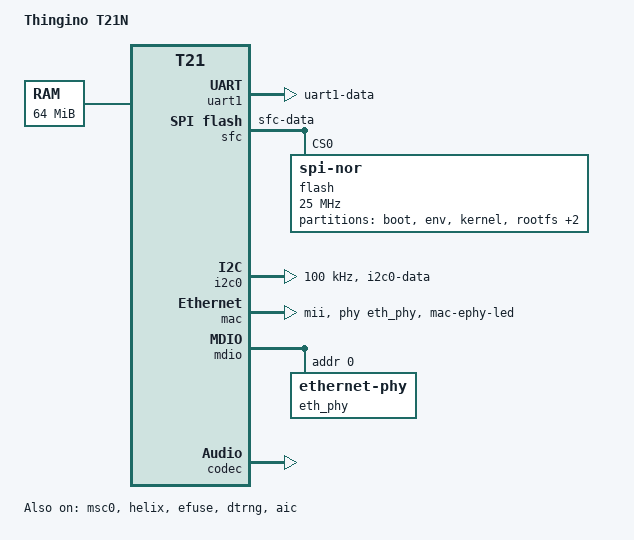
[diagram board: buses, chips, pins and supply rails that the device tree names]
// SPDX-License-Identifier: GPL-2.0
/dts-v1/;

#include <dt-bindings/gpio/gpio.h>
#include "t21.dtsi"

/ {
	compatible = "thingino,t21", "ingenic,t21";
	model = "Thingino T21N";

	aliases {
		serial1 = &uart1;
	};

	chosen {
		stdout-path = "serial1:115200n8";
	};

	memory@0 {
		device_type = "memory";
		reg = <0x0 0x4000000>;
	};
};

&exclk {
	clock-frequency = <24000000>;
};

&uart1 {
	status = "okay";

	pinctrl-names = "default";
	pinctrl-0 = <&pins_uart1>;
};

&tcu {
	/* 750 kHz for the system timer and clocksource; SYSOST is sched_clock */
	assigned-clocks = <&tcu TCU_CLK_TIMER0>, <&tcu TCU_CLK_TIMER1>;
	assigned-clock-rates = <750000>, <750000>;
};

&sfc {
	status = "okay";

	pinctrl-names = "default";
	pinctrl-0 = <&pins_sfc>;

	/*
	 * The bench T21N's NOR has a bad block at 0xa30000, so it is described
	 * read-only: nothing here may write it. The layout is thingino's.
	 */
	flash@0 {
		compatible = "jedec,spi-nor";
		reg = <0>;
		spi-max-frequency = <25000000>;

		partitions {
			compatible = "fixed-partitions";
			#address-cells = <1>;
			#size-cells = <1>;

			partition@0 {
				label = "boot";
				reg = <0x0 0x40000>;
				read-only;
			};

			partition@40000 {
				label = "env";
				reg = <0x40000 0x10000>;
				read-only;
			};

			partition@50000 {
				label = "kernel";
				reg = <0x50000 0x200000>;
				read-only;
			};

			partition@250000 {
				label = "rootfs";
				reg = <0x250000 0x500000>;
				read-only;
			};

			partition@750000 {
				label = "rootfs_data";
				reg = <0x750000 0xb0000>;
				read-only;
			};

			partition-all@0 {
				label = "all";
				reg = <0x0 0x1000000>;
				read-only;
			};
		};
	};
};

&msc0 {
	status = "okay";
	bus-width = <4>;
	max-frequency = <24000000>;
	/* The bench board's card detect and power pins are unverified */
	broken-cd;

	pinctrl-names = "default";
	pinctrl-0 = <&pins_mmc0>;
};

&isp {
	/* consumed by the out-of-tree ISP modules, not bound by a driver */
	pinctrl-names = "default";
	pinctrl-0 = <&pins_cim_mclk>, <&pins_cim_dvp>;
};

&helix {
	/* the H.264/JPEG encoder, bound by the out-of-tree soc-vpu module */
	status = "okay";
};

&i2c0 {
	status = "okay";
	clock-frequency = <100000>;

	pinctrl-names = "default";
	pinctrl-0 = <&pins_i2c0>;
};

&efuse {
	status = "okay";
};

&dtrng {
	status = "okay";
};

/*
 * The internal PHY talks MII to the MAC (not RMII) at a 25 MHz MAC clock and
 * only needs its two LED pads muxed (the vendor and U-Boot do so). The PHY
 * address is assumed.
 */
&mac {
	status = "okay";

	phy-mode = "mii";
	phy-handle = <&eth_phy>;

	assigned-clocks = <&cgu T21_CLK_MAC>;
	assigned-clock-rates = <25000000>;

	pinctrl-names = "default";
	pinctrl-0 = <&pins_mac>;
};

&mdio {
	eth_phy: ethernet-phy@0 {
		reg = <0>;
	};
};

&pinctrl {
	pins_uart1: uart1 {
		function = "uart1";
		groups = "uart1-data";
	};

	pins_mac: mac {
		function = "mac";
		groups = "mac-ephy-led";
	};

	pins_mmc0: mmc0 {
		function = "mmc0";
		groups = "mmc0-1bit", "mmc0-4bit";
	};

	pins_sfc: sfc {
		function = "sfc";
		groups = "sfc-data";
	};

	pins_cim_mclk: cim-mclk {
		function = "cim";
		groups = "cim-mclk";
	};

	/* the bench sensor's DVP bus: PA low 10 bit data, PCLK, HSYNC, VSYNC */
	pins_cim_dvp: cim-dvp {
		function = "cim";
		groups = "cim-pclk", "cim-sync", "cim-data-10bit";
	};

	pins_i2c0: i2c0 {
		function = "i2c0";
		groups = "i2c0-data";
	};
};

&aic {
	status = "okay";
};

/* Speaker amp enable: PB31 */
&codec {
	spk-gpios = <&gpb 31 GPIO_ACTIVE_LOW>;
	status = "okay";
};
